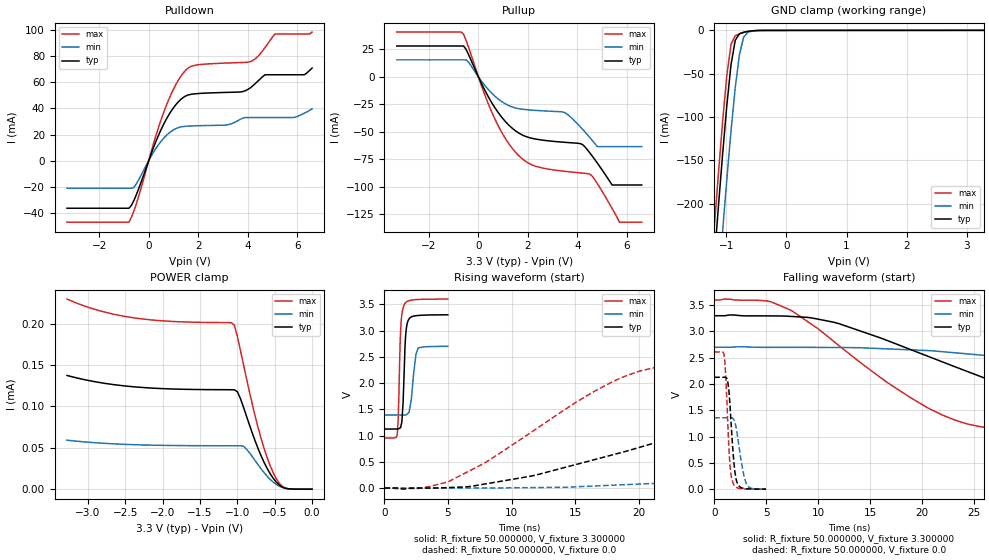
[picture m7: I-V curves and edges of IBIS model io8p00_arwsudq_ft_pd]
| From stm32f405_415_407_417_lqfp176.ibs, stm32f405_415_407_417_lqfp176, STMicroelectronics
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|   Model io8p00_arwsudq_ft_pd
[Model]  io8p00_arwsudq_ft_pd
Model_type I/O
Polarity   Non-Inverting
Enable   Active-Low
Vinl =   0.990000V
Vinh =   2.310000V
Vmeas =  1.650000V
Cref =   50.000000pF
Rref =   100.000000M
Vref =   0.0V
C_comp   2.905500pF   2.831700pF   2.987900pF
[Temperature Range]   25.000000   0.125000k   -40.000000
[Pullup Reference]   3.300000V   2.700000V   3.600000V
[Pulldown Reference]   0.0V   0.0V   0.0V
[POWER Clamp Reference]   3.300000V   2.700000V   3.600000V
[GND Clamp Reference]   0.0V   0.0V   0.0V
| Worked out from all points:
|   slope of the pulldown table from 0 to 0.495 V, typ, clamps not added: 20.9 ohm
|   slope of the pullup table from 0 to 0.495 V, typ, clamps not added: 22.6 ohm
|   GND clamp passes 1 mA (typ) near -0.62 V on its own axis
|   rising waveform, R_fixture 50.000000, V_fixture 3.300000: 20-80 % time 211ps typ, 337ps min, 188ps max; typ from 1.12 V to 3.3 V
|   rising waveform, R_fixture 50.000000, V_fixture 0.0: 20-80 % time 19.7ns typ, 50.8ns min, 10.3ns max; typ from 0 V to 2.13 V
|   falling waveform, R_fixture 50.000000, V_fixture 3.300000: 20-80 % time 18.5ns typ, 38.3ns min, 11.4ns max; typ from 3.3 V to 1.12 V
|   falling waveform, R_fixture 50.000000, V_fixture 0.0: 20-80 % time 460ps typ, 653ps min, 371ps max; typ from 2.13 V to 0 V
[Pulldown]
|Voltage   I(typ)   I(min)   I(max)
-3.3V     -36.4mA    -21.07mA   -47.09mA
-800mV    -36.4mA    -21.07mA   -47.09mA
-600mV    -30.5mA    -20.54mA   -38.69mA
700mV     31.4mA     19.11mA    41.71mA
1.2V      45.15mA    25.37mA    61.75mA
1.6V      50.35mA    26.5mA     71.06mA
3.1V      52.27mA    27.26mA    74.75mA
4.1V      55.71mA    33.04mA    75.8mA
4.7V      65.8mA     33.04mA    86.69mA
5.1V      65.8mA     33.04mA    97.03mA
6.3V      65.87mA    36.5mA     97.03mA
6.6V      70.92mA    39.71mA    98.48mA
[Pullup]
|Voltage   I(typ)   I(min)   I(max)
-3.3V     28.03mA    15.43mA    40.67mA
-700mV    28.03mA    15.43mA    40.67mA
-400mV    20.31mA    13.47mA    26.93mA
600mV     -25.77mA   -16.23mA   -35.13mA
1.6V      -50.64mA   -28.81mA   -70.96mA
3.5V      -59.53mA   -32.65mA   -85.92mA
4.2V      -61.44mA   -47.49mA   -87.46mA
4.5V      -69.08mA   -55.13mA   -88.39mA
4.8V      -78.24mA   -63.4mA    -96.88mA
5.4V      -98.3mA    -63.4mA    -119.6mA
5.7V      -98.3mA    -63.4mA    -132.1mA
6.6V      -98.3mA    -63.4mA    -132.1mA
[GND_clamp]
|Voltage   I(typ)   I(min)   I(max)
-3.3V     -2.319A    -2.397A    -2.292A
-1.2V     -266mA     -356.3mA   -228.4mA
-1.13V    -203.2mA   -293mA     -165.3mA
-1.06V    -142.7mA   -231.3mA   -105.2mA
-990mV    -86.51mA   -171.7mA   -51.78mA
-920mV    -39.3mA    -115.7mA   -15.95mA
-850mV    -11.38mA   -65.76mA   -6.112mA
-780mV    -3.842mA   -27.55mA   -3.895mA
-710mV    -2.102mA   -7.755mA   -2.396mA
-640mV    -1.159mA   -2.138mA   -1.234mA
-570mV    -535.1uA   -809uA     -490.4uA
3.28V     81.28uA    57.87uA    93.98uA
[POWER_clamp]
|Voltage   I(typ)   I(min)   I(max)
-3.28V    137.3uA    59.14uA    229.6uA
-2.36V    123.4uA    53.65uA    206.6uA
-1.08V    120.1uA    52.41uA    201.1uA
-1.04V    120uA      52.41uA    198uA
-1V       117.7uA    52.4uA     184.5uA
-920mV    99.46uA    51.91uA    151.2uA
-720mV    48.42uA    29.12uA    73.51uA
-600mV    24.82uA    15.47uA    37.72uA
-520mV    13.1uA     8.45uA     19.84uA
-440mV    5.058uA    3.61uA     7.276uA
-360mV    1.193uA    1.129uA    1.311uA
0V        0A         0A         0A
[Ramp]
| variable   typ   min   max
dV/dt_r  1.27668/19.71514n   0.81534/50.90980n   1.56653/10.33467n
dV/dt_f  1.30596/18.44728n   0.78492/38.38382n   1.58741/11.33419n
R_load = 50.000000
[Rising Waveform]
R_fixture= 50.000000
V_fixture= 3.300000
V_fixture_min= 2.700000
V_fixture_max= 3.600000
|time   V(typ)   V(min)   V(max)
0s        1.123V     1.39V      953.1mV
1.001ns   1.125V     1.391V     1.011V
1.071ns   1.127V     1.391V     1.26V
1.271ns   1.158V     1.391V     3.006V
1.371ns   1.269V     1.39V      3.314V
1.532ns   2.086V     1.39V      3.477V
1.672ns   2.92V      1.393V     3.532V
1.932ns   3.22V      1.444V     3.568V
2.653ns   3.286V     2.666V     3.591V
4.985ns   3.299V     2.699V     3.599V
[Rising Waveform]
R_fixture= 50.000000
V_fixture= 0.0
V_fixture_min= 0.0
V_fixture_max= 0.0
|time   V(typ)   V(min)   V(max)
0s        1.506uV    360.2nV    16.56uV
5.005ns   8.625mV    -158.1uV   117.5mV
11.51ns   225.4mV    7.801mV    1.055V
19.02ns   699.7mV    64.5mV     2.137V
28.03ns   1.328V     173.5mV    2.496V
36.54ns   1.789V     323.5mV    2.565V
46.55ns   1.99V      501.5mV    2.593V
88.09ns   2.117V     1.13V      2.611V
115.1ns   2.126V     1.291V     2.611V
249.2ns   2.128V     1.358V     2.611V
[Falling Waveform]
R_fixture= 50.000000
V_fixture= 3.300000
V_fixture_min= 2.700000
V_fixture_max= 3.600000
|time   V(typ)   V(min)   V(max)
0s        3.299V     2.699V     3.599V
5.506ns   3.295V     2.697V     3.56V
11.51ns   3.175V     2.694V     2.81V
22.02ns   2.416V     2.614V     1.405V
31.53ns   1.724V     2.434V     1.073V
36.54ns   1.476V     2.313V     1.037V
46.05ns   1.28V      2.081V     998.9mV
65.57ns   1.177V     1.699V     967.2mV
86.09ns   1.147V     1.528V     956.1mV
249.2ns   1.123V     1.39V      953.1mV
[Falling Waveform]
R_fixture= 50.000000
V_fixture= 0.0
V_fixture_min= 0.0
V_fixture_max= 0.0
|time   V(typ)   V(min)   V(max)
0s        2.128V     1.358V     2.611V
981ps     2.129V     1.357V     2.512V
1.151ns   2.12V      1.357V     1.99V
1.411ns   1.885V     1.358V     800mV
1.572ns   1.435V     1.359V     346.8mV
1.792ns   766.5mV    1.351V     127.9mV
2.182ns   137.4mV    1.093V     30.64mV
2.843ns   14.15mV    269.1mV    5.156mV
3.143ns   6.528mV    87.66mV    3.599mV
4.985ns   1.506uV    360.2nV    16.56uV
